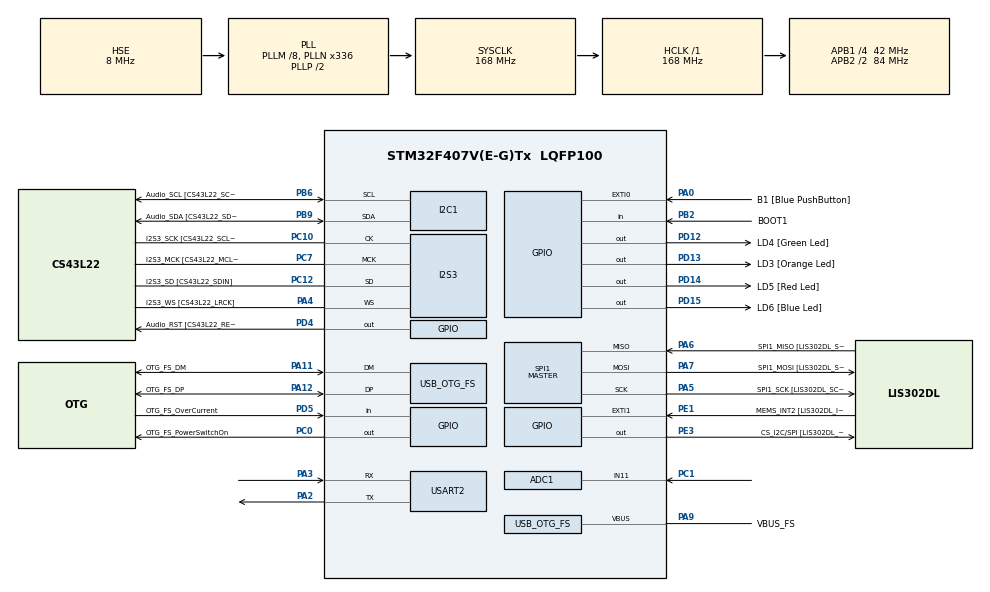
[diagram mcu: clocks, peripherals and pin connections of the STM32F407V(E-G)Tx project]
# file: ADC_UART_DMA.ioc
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ADC1.Channel-0\#ChannelRegularConversion=ADC_CHANNEL_11
ADC1.DMAContinuousRequests=ENABLE
ADC1.ExternalTrigConv=ADC_EXTERNALTRIGCONV_T2_TRGO
ADC1.NbrOfConversionFlag=1
ADC1.Rank-0\#ChannelRegularConversion=1
ADC1.SamplingTime-0\#ChannelRegularConversion=ADC_SAMPLETIME_3CYCLES
ADC1.master=1
Dma.ADC1.0.Direction=DMA_PERIPH_TO_MEMORY
Dma.ADC1.0.FIFOMode=DMA_FIFOMODE_DISABLE
Dma.ADC1.0.Instance=DMA2_Stream0
Dma.ADC1.0.MemDataAlignment=DMA_MDATAALIGN_HALFWORD
Dma.ADC1.0.MemInc=DMA_MINC_ENABLE
Dma.ADC1.0.Mode=DMA_CIRCULAR
Dma.ADC1.0.PeriphDataAlignment=DMA_PDATAALIGN_HALFWORD
Dma.ADC1.0.PeriphInc=DMA_PINC_DISABLE
Dma.ADC1.0.Priority=DMA_PRIORITY_LOW
Dma.Request0=ADC1
I2S3.AudioFreq-Half_Duplex_Master=I2S_AUDIOFREQ_96K
I2S3.ErrorAudioFreq=-2.34 %
I2S3.ErrorAudioFreq-Half_Duplex_Master=0.8 %
I2S3.FullDuplexMode=I2S_FULLDUPLEXMODE_DISABLE
I2S3.Instance=SPI$Index
I2S3.RealAudioFreq=93.75 KHz
I2S3.RealAudioFreq-Half_Duplex_Master=96.774 KHz
I2S3.VirtualMode=I2S_MODE_MASTER
Mcu.Family=STM32F4
Mcu.Name=STM32F407V(E-G)Tx
Mcu.Package=LQFP100
NVIC.DMA2_Stream0_IRQn=true\:0\:0\:false\:false\:true\:false\:true\:true
NVIC.OTG_FS_IRQn=true\:0\:0\:false\:false\:true\:true\:true\:true
NVIC.PriorityGroup=NVIC_PRIORITYGROUP_0
PA0-WKUP.GPIO_Label=B1 [Blue PushButton]
PA0-WKUP.GPIO_ModeDefaultEXTI=GPIO_MODE_EVT_RISING
PA0-WKUP.GPIO_PuPd=GPIO_NOPULL
PA0-WKUP.Signal=GPXTI0
PA10.GPIO_Label=OTG_FS_ID
PA10.GPIO_Mode=GPIO_MODE_AF_PP
PA10.GPIO_PuPd=GPIO_NOPULL
PA10.GPIO_Speed=GPIO_SPEED_FREQ_LOW
PA10.Signal=USB_OTG_FS_ID
PA11.GPIO_Label=OTG_FS_DM
PA11.GPIO_Mode=GPIO_MODE_AF_PP
PA11.GPIO_PuPd=GPIO_NOPULL
PA11.GPIO_Speed=GPIO_SPEED_FREQ_LOW
PA11.Mode=Host_Only
PA11.Signal=USB_OTG_FS_DM
PA12.GPIO_Label=OTG_FS_DP
PA12.GPIO_Mode=GPIO_MODE_AF_PP
PA12.GPIO_PuPd=GPIO_NOPULL
PA12.GPIO_Speed=GPIO_SPEED_FREQ_LOW
PA12.Mode=Host_Only
PA12.Signal=USB_OTG_FS_DP
PA13.GPIO_Label=SWDIO
PA13.Mode=Serial_Wire
PA13.Signal=SYS_JTMS-SWDIO
PA14.GPIO_Label=SWCLK
PA14.Mode=Serial_Wire
PA14.Signal=SYS_JTCK-SWCLK
PA2.Mode=Asynchronous
PA2.Signal=USART2_TX
PA3.Mode=Asynchronous
PA3.Signal=USART2_RX
PA4.GPIO_Label=I2S3_WS [CS43L22_LRCK]
PA4.GPIO_Mode=GPIO_MODE_AF_PP
PA4.GPIO_PuPd=GPIO_NOPULL
PA4.GPIO_Speed=GPIO_SPEED_FREQ_LOW
PA4.Mode=Half_Duplex_Master
PA4.Signal=I2S3_WS
PA5.GPIO_Label=SPI1_SCK [LIS302DL_SCL/SPC]
PA5.GPIO_Mode=GPIO_MODE_AF_PP
PA5.GPIO_PuPd=GPIO_NOPULL
PA5.GPIO_Speed=GPIO_SPEED_FREQ_LOW
PA5.Mode=Full_Duplex_Master
PA5.Signal=SPI1_SCK
PA6.GPIO_Label=SPI1_MISO [LIS302DL_SDO]
PA6.GPIO_Mode=GPIO_MODE_AF_PP
PA6.GPIO_PuPd=GPIO_NOPULL
PA6.GPIO_Speed=GPIO_SPEED_FREQ_LOW
PA6.Mode=Full_Duplex_Master
PA6.Signal=SPI1_MISO
PA7.GPIO_Label=SPI1_MOSI [LIS302DL_SDA/SDI/SDO]
PA7.GPIO_Mode=GPIO_MODE_AF_PP
PA7.GPIO_PuPd=GPIO_NOPULL
PA7.GPIO_Speed=GPIO_SPEED_FREQ_LOW
PA7.Mode=Full_Duplex_Master
PA7.Signal=SPI1_MOSI
PA9.GPIO_Label=VBUS_FS
PA9.GPIO_Mode=GPIO_MODE_INPUT
PA9.GPIO_PuPd=GPIO_NOPULL
PA9.Mode=Activate_VBUS
PA9.Signal=USB_OTG_FS_VBUS
PB10.GPIO_Label=CLK_IN [MP45DT02_CLK]
PB10.GPIO_Mode=GPIO_MODE_AF_PP
PB10.GPIO_PuPd=GPIO_NOPULL
PB10.GPIO_Speed=GPIO_SPEED_FREQ_LOW
PB10.Signal=I2S2_CK
PB2.GPIO_Label=BOOT1
PB2.GPIO_Mode=GPIO_MODE_INPUT
PB2.GPIO_PuPd=GPIO_NOPULL
PB2.Signal=GPIO_Input
PB3.GPIO_Label=SWO
PB3.Signal=SYS_JTDO-SWO
PB6.GPIO_Label=Audio_SCL [CS43L22_SCL]
PB6.GPIO_Mode=GPIO_MODE_AF_OD
PB6.GPIO_Pu=GPIO_PULLUP
PB6.GPIO_PuPd=GPIO_NOPULL
PB6.GPIO_Speed=GPIO_SPEED_FREQ_LOW
PB6.Mode=I2C
PB6.Signal=I2C1_SCL
PB9.GPIO_Label=Audio_SDA [CS43L22_SDA]
PB9.GPIO_Mode=GPIO_MODE_AF_OD
PB9.GPIO_Pu=GPIO_PULLUP
PB9.GPIO_PuPd=GPIO_NOPULL
PB9.GPIO_Speed=GPIO_SPEED_FREQ_LOW
PB9.Mode=I2C
PB9.Signal=I2C1_SDA
PC0.GPIO_Label=OTG_FS_PowerSwitchOn
PC0.GPIO_PuPd=GPIO_NOPULL
PC0.GPIO_Speed=GPIO_SPEED_FREQ_LOW
PC0.PinState=GPIO_PIN_SET
PC0.Signal=GPIO_Output
PC1.Signal=ADCx_IN11
PC10.GPIO_Label=I2S3_SCK [CS43L22_SCLK]
PC10.GPIO_Mode=GPIO_MODE_AF_PP
PC10.GPIO_PuPd=GPIO_NOPULL
PC10.GPIO_Speed=GPIO_SPEED_FREQ_LOW
PC10.Mode=Half_Duplex_Master
PC10.Signal=I2S3_CK
PC12.GPIO_Label=I2S3_SD [CS43L22_SDIN]
PC12.GPIO_Mode=GPIO_MODE_AF_PP
PC12.GPIO_PuPd=GPIO_NOPULL
PC12.GPIO_Speed=GPIO_SPEED_FREQ_LOW
PC12.Mode=Half_Duplex_Master
PC12.Signal=I2S3_SD
PC14-OSC32_IN.GPIO_Label=PC14-OSC32_IN
PC14-OSC32_IN.Mode=LSE-External-Oscillator
PC14-OSC32_IN.Signal=RCC_OSC32_IN
PC15-OSC32_OUT.GPIO_Label=PC15-OSC32_OUT
PC15-OSC32_OUT.Mode=LSE-External-Oscillator
PC15-OSC32_OUT.Signal=RCC_OSC32_OUT
PC3.GPIO_Label=PDM_OUT [MP45DT02_DOUT]
PC3.GPIO_Mode=GPIO_MODE_AF_PP
PC3.GPIO_PuPd=GPIO_NOPULL
PC3.GPIO_Speed=GPIO_SPEED_FREQ_LOW
PC3.Signal=I2S2_SD
PC7.GPIO_Label=I2S3_MCK [CS43L22_MCLK]
PC7.GPIO_Mode=GPIO_MODE_AF_PP
PC7.GPIO_PuPd=GPIO_NOPULL
PC7.GPIO_Speed=GPIO_SPEED_FREQ_LOW
PC7.Mode=Master_Clock_Activated
PC7.Signal=I2S3_MCK
PD12.GPIO_Label=LD4 [Green Led]
PD12.GPIO_PuPd=GPIO_NOPULL
PD12.GPIO_Speed=GPIO_SPEED_FREQ_LOW
PD12.Signal=GPIO_Output
PD13.GPIO_Label=LD3 [Orange Led]
PD13.GPIO_PuPd=GPIO_NOPULL
PD13.GPIO_Speed=GPIO_SPEED_FREQ_LOW
PD13.Signal=GPIO_Output
PD14.GPIO_Label=LD5 [Red Led]
PD14.GPIO_PuPd=GPIO_NOPULL
PD14.GPIO_Speed=GPIO_SPEED_FREQ_LOW
PD14.Signal=GPIO_Output
PD15.GPIO_Label=LD6 [Blue Led]
PD15.GPIO_PuPd=GPIO_NOPULL
PD15.GPIO_Speed=GPIO_SPEED_FREQ_LOW
PD15.Signal=GPIO_Output
PD4.GPIO_Label=Audio_RST [CS43L22_RESET]
PD4.GPIO_PuPd=GPIO_NOPULL
PD4.GPIO_Speed=GPIO_SPEED_FREQ_LOW
PD4.Signal=GPIO_Output
PD5.GPIO_Label=OTG_FS_OverCurrent
PD5.GPIO_Mode=GPIO_MODE_INPUT
PD5.GPIO_PuPd=GPIO_NOPULL
PD5.Signal=GPIO_Input
PE1.GPIO_Label=MEMS_INT2 [LIS302DL_INT2]
PE1.GPIO_ModeDefaultEXTI=GPIO_MODE_EVT_RISING
PE1.GPIO_PuPd=GPIO_NOPULL
PE1.Signal=GPXTI1
PE3.GPIO_Label=CS_I2C/SPI [LIS302DL_CS_I2C/SPI]
PE3.GPIO_PuPd=GPIO_NOPULL
PE3.GPIO_Speed=GPIO_SPEED_FREQ_LOW
PE3.Signal=GPIO_Output
PH0-OSC_IN.GPIO_Label=PH0-OSC_IN
PH0-OSC_IN.Mode=HSE-External-Oscillator
PH0-OSC_IN.Signal=RCC_OSC_IN
PH1-OSC_OUT.GPIO_Label=PH1-OSC_OUT
PH1-OSC_OUT.Mode=HSE-External-Oscillator
PH1-OSC_OUT.Signal=RCC_OSC_OUT
ProjectManager.HeapSize=0x200
ProjectManager.StackSize=0x400
ProjectManager.TargetToolchain=STM32CubeIDE
RCC.48MHZClocksFreq_Value=48000000
RCC.AHBFreq_Value=168000000
RCC.APB1CLKDivider=RCC_HCLK_DIV4
RCC.APB1Freq_Value=42000000
RCC.APB1TimFreq_Value=84000000
RCC.APB2CLKDivider=RCC_HCLK_DIV2
RCC.APB2Freq_Value=84000000
RCC.APB2TimFreq_Value=168000000
RCC.CortexFreq_Value=168000000
RCC.HCLKFreq_Value=168000000
RCC.HSE_VALUE=8000000
RCC.HSI_VALUE=16000000
RCC.PLLM=8
RCC.PLLN=336
RCC.PLLQ=7
RCC.SYSCLKFreq_VALUE=168000000
RCC.SYSCLKSource=RCC_SYSCLKSOURCE_PLLCLK
RCC.VCOOutputFreq_Value=336000000
SH.ADCx_IN11.0=ADC1_IN11,IN11
SPI1.BaudRatePrescaler-Full_Duplex_Master=SPI_BAUDRATEPRESCALER_2
SPI1.CalculateBaudRate-Full_Duplex_Master=42.0 MBits/s
SPI1.Direction=SPI_DIRECTION_2LINES
SPI1.Mode=SPI_MODE_MASTER
SPI1.Mode-Full_Duplex_Master=SPI_MODE_MASTER
SPI1.VirtualType=VM_MASTER
TIM2.Period=56000
TIM2.TIM_MasterOutputTrigger=TIM_TRGO_UPDATE
TIM2.TIM_MasterSlaveMode=TIM_MASTERSLAVEMODE_DISABLE
USART2.VirtualMode=VM_ASYNC
USB_HOST.BSP.number=1
USB_HOST.USBH_HandleTypeDef-CDC_FS=hUsbHostFS
USB_HOST.VirtualModeFS=Cdc
USB_HOST0.BSP.STBoard=false
USB_HOST0.BSP.api=Unknown
USB_HOST0.BSP.instance=PC0
USB_HOST0.BSP.ip=GPIO
USB_HOST0.BSP.mode=Output
USB_HOST0.BSP.name=Drive_VBUS_FS
USB_HOST0.BSP.solution=PC0
USB_OTG_FS.VirtualMode=Host_Only
USB_OTG_FS.phy_itface=HCD_PHY_EMBEDDED
VP_TIM2_VS_ClockSourceINT.Mode=Internal
VP_USB_HOST_VS_USB_HOST_CDC_FS.Mode=CDC_FS
board=STM32F407G-DISC1

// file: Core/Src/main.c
/* USER CODE BEGIN Header */
/**
  ******************************************************************************
  * @file           : main.c
  * @brief          : Main program body
  ******************************************************************************
  * @attention
  *
  * Copyright (c) 2024 STMicroelectronics.
  * All rights reserved.
  *
  * This software is licensed under terms that can be found in the LICENSE file
  * in the root directory of this software component.
  * If no LICENSE file comes with this software, it is provided AS-IS.
  *
  ******************************************************************************
  */
/* USER CODE END Header */
#include "main.h"
#include "usb_host.h"

/* USER CODE BEGIN Includes */
#include "stm32f4xx_hal.h"
#include <stdio.h>
#include <string.h>
/* USER CODE END Includes */

/* USER CODE BEGIN PD */
#define ADC_BUFFER_SIZE 128
/* USER CODE END PD */

ADC_HandleTypeDef hadc1;
DMA_HandleTypeDef hdma_adc1;

I2C_HandleTypeDef hi2c1;

I2S_HandleTypeDef hi2s3;

SPI_HandleTypeDef hspi1;

TIM_HandleTypeDef htim2;

UART_HandleTypeDef huart2;

/* USER CODE BEGIN PV */
uint32_t adc_buffer[ADC_BUFFER_SIZE];
/* USER CODE END PV */

void SystemClock_Config(void);
static void MX_GPIO_Init(void);
static void MX_DMA_Init(void);
static void MX_I2C1_Init(void);
static void MX_I2S3_Init(void);
static void MX_SPI1_Init(void);
static void MX_ADC1_Init(void);
static void MX_TIM2_Init(void);
static void MX_USART2_UART_Init(void);
void MX_USB_HOST_Process(void);

int main(void)
{

  /* MCU Configuration--------------------------------------------------------*/

  /* Reset of all peripherals, Initializes the Flash interface and the Systick. */
  HAL_Init();

  /* Configure the system clock */
  SystemClock_Config();

  /* Initialize all configured peripherals */
  MX_GPIO_Init();
  MX_DMA_Init();
  MX_I2C1_Init();
  MX_I2S3_Init();
  MX_SPI1_Init();
  MX_USB_HOST_Init();
  MX_ADC1_Init();
  MX_TIM2_Init();
  MX_USART2_UART_Init();
  /* USER CODE BEGIN 2 */
  // Start ADC in DMA mode
  HAL_ADC_Start_DMA(&hadc1, (uint32_t*)adc_buffer, ADC_BUFFER_SIZE);
  // Start Timer
  HAL_TIM_Base_Start(&htim2);
  /* USER CODE END 2 */

  /* Infinite loop */
  while (1)
  {
    MX_USB_HOST_Process();

    /* USER CODE BEGIN 3 */
    // Transmit ADC data over USART in a circular buffer fashion
//	HAL_UART_Transmit(&huart2, (uint8_t*)adc_buffer, ADC_BUFFER_SIZE * 2, HAL_MAX_DELAY);
//	HAL_Delay(10); // Adjust delay as necessary for plotter speed
  }
  /* USER CODE END 3 */
}

void SystemClock_Config(void)
{
  RCC_OscInitTypeDef RCC_OscInitStruct = {0};
  RCC_ClkInitTypeDef RCC_ClkInitStruct = {0};

  /** Configure the main internal regulator output voltage
  */
  __HAL_RCC_PWR_CLK_ENABLE();
  __HAL_PWR_VOLTAGESCALING_CONFIG(PWR_REGULATOR_VOLTAGE_SCALE1);

  /** Initializes the RCC Oscillators according to the specified parameters
  * in the RCC_OscInitTypeDef structure.
  */
  RCC_OscInitStruct.OscillatorType = RCC_OSCILLATORTYPE_HSE;
  RCC_OscInitStruct.HSEState = RCC_HSE_ON;
  RCC_OscInitStruct.PLL.PLLState = RCC_PLL_ON;
  RCC_OscInitStruct.PLL.PLLSource = RCC_PLLSOURCE_HSE;
  RCC_OscInitStruct.PLL.PLLM = 8;
  RCC_OscInitStruct.PLL.PLLN = 336;
  RCC_OscInitStruct.PLL.PLLP = RCC_PLLP_DIV2;
  RCC_OscInitStruct.PLL.PLLQ = 7;
  if (HAL_RCC_OscConfig(&RCC_OscInitStruct) != HAL_OK)
  {
    Error_Handler();
  }

  /** Initializes the CPU, AHB and APB buses clocks
  */
  RCC_ClkInitStruct.ClockType = RCC_CLOCKTYPE_HCLK|RCC_CLOCKTYPE_SYSCLK
                              |RCC_CLOCKTYPE_PCLK1|RCC_CLOCKTYPE_PCLK2;
  RCC_ClkInitStruct.SYSCLKSource = RCC_SYSCLKSOURCE_PLLCLK;
  RCC_ClkInitStruct.AHBCLKDivider = RCC_SYSCLK_DIV1;
  RCC_ClkInitStruct.APB1CLKDivider = RCC_HCLK_DIV4;
  RCC_ClkInitStruct.APB2CLKDivider = RCC_HCLK_DIV2;

  if (HAL_RCC_ClockConfig(&RCC_ClkInitStruct, FLASH_LATENCY_5) != HAL_OK)
  {
    Error_Handler();
  }
}

static void MX_ADC1_Init(void)
{

  ADC_ChannelConfTypeDef sConfig = {0};

  /** Configure the global features of the ADC (Clock, Resolution, Data Alignment and number of conversion)
  */
  hadc1.Instance = ADC1;
  hadc1.Init.ClockPrescaler = ADC_CLOCK_SYNC_PCLK_DIV4;
  hadc1.Init.Resolution = ADC_RESOLUTION_12B;
  hadc1.Init.ScanConvMode = DISABLE;
  hadc1.Init.ContinuousConvMode = DISABLE;
  hadc1.Init.DiscontinuousConvMode = DISABLE;
  hadc1.Init.ExternalTrigConvEdge = ADC_EXTERNALTRIGCONVEDGE_RISING;
  hadc1.Init.ExternalTrigConv = ADC_EXTERNALTRIGCONV_T2_TRGO;
  hadc1.Init.DataAlign = ADC_DATAALIGN_RIGHT;
  hadc1.Init.NbrOfConversion = 1;
  hadc1.Init.DMAContinuousRequests = ENABLE;
  hadc1.Init.EOCSelection = ADC_EOC_SINGLE_CONV;
  if (HAL_ADC_Init(&hadc1) != HAL_OK)
  {
    Error_Handler();
  }

  /** Configure for the selected ADC regular channel its corresponding rank in the sequencer and its sample time.
  */
  sConfig.Channel = ADC_CHANNEL_11;
  sConfig.Rank = 1;
  sConfig.SamplingTime = ADC_SAMPLETIME_3CYCLES;
  if (HAL_ADC_ConfigChannel(&hadc1, &sConfig) != HAL_OK)
  {
    Error_Handler();
  }

}

static void MX_I2C1_Init(void)
{

  hi2c1.Instance = I2C1;
  hi2c1.Init.ClockSpeed = 100000;
  hi2c1.Init.DutyCycle = I2C_DUTYCYCLE_2;
  hi2c1.Init.OwnAddress1 = 0;
  hi2c1.Init.AddressingMode = I2C_ADDRESSINGMODE_7BIT;
  hi2c1.Init.DualAddressMode = I2C_DUALADDRESS_DISABLE;
  hi2c1.Init.OwnAddress2 = 0;
  hi2c1.Init.GeneralCallMode = I2C_GENERALCALL_DISABLE;
  hi2c1.Init.NoStretchMode = I2C_NOSTRETCH_DISABLE;
  if (HAL_I2C_Init(&hi2c1) != HAL_OK)
  {
    Error_Handler();
  }

}

static void MX_I2S3_Init(void)
{

  hi2s3.Instance = SPI3;
  hi2s3.Init.Mode = I2S_MODE_MASTER_TX;
  hi2s3.Init.Standard = I2S_STANDARD_PHILIPS;
  hi2s3.Init.DataFormat = I2S_DATAFORMAT_16B;
  hi2s3.Init.MCLKOutput = I2S_MCLKOUTPUT_ENABLE;
  hi2s3.Init.AudioFreq = I2S_AUDIOFREQ_96K;
  hi2s3.Init.CPOL = I2S_CPOL_LOW;
  hi2s3.Init.ClockSource = I2S_CLOCK_PLL;
  hi2s3.Init.FullDuplexMode = I2S_FULLDUPLEXMODE_DISABLE;
  if (HAL_I2S_Init(&hi2s3) != HAL_OK)
  {
    Error_Handler();
  }

}

static void MX_SPI1_Init(void)
{

  /* SPI1 parameter configuration*/
  hspi1.Instance = SPI1;
  hspi1.Init.Mode = SPI_MODE_MASTER;
  hspi1.Init.Direction = SPI_DIRECTION_2LINES;
  hspi1.Init.DataSize = SPI_DATASIZE_8BIT;
  hspi1.Init.CLKPolarity = SPI_POLARITY_LOW;
  hspi1.Init.CLKPhase = SPI_PHASE_1EDGE;
  hspi1.Init.NSS = SPI_NSS_SOFT;
  hspi1.Init.BaudRatePrescaler = SPI_BAUDRATEPRESCALER_2;
  hspi1.Init.FirstBit = SPI_FIRSTBIT_MSB;
  hspi1.Init.TIMode = SPI_TIMODE_DISABLE;
  hspi1.Init.CRCCalculation = SPI_CRCCALCULATION_DISABLE;
  hspi1.Init.CRCPolynomial = 10;
  if (HAL_SPI_Init(&hspi1) != HAL_OK)
  {
    Error_Handler();
  }

}

static void MX_TIM2_Init(void)
{

  TIM_ClockConfigTypeDef sClockSourceConfig = {0};
  TIM_MasterConfigTypeDef sMasterConfig = {0};

  htim2.Instance = TIM2;
  htim2.Init.Prescaler = 0;
  htim2.Init.CounterMode = TIM_COUNTERMODE_UP;
  htim2.Init.Period = 56000;
  htim2.Init.ClockDivision = TIM_CLOCKDIVISION_DIV1;
  htim2.Init.AutoReloadPreload = TIM_AUTORELOAD_PRELOAD_DISABLE;
  if (HAL_TIM_Base_Init(&htim2) != HAL_OK)
  {
    Error_Handler();
  }
  sClockSourceConfig.ClockSource = TIM_CLOCKSOURCE_INTERNAL;
  if (HAL_TIM_ConfigClockSource(&htim2, &sClockSourceConfig) != HAL_OK)
  {
    Error_Handler();
  }
  sMasterConfig.MasterOutputTrigger = TIM_TRGO_UPDATE;
  sMasterConfig.MasterSlaveMode = TIM_MASTERSLAVEMODE_DISABLE;
  if (HAL_TIMEx_MasterConfigSynchronization(&htim2, &sMasterConfig) != HAL_OK)
  {
    Error_Handler();
  }

}

static void MX_USART2_UART_Init(void)
{

  huart2.Instance = USART2;
//  huart2.Init.BaudRate = 115200;
  huart2.Init.BaudRate = 921600;
  huart2.Init.WordLength = UART_WORDLENGTH_8B;
  huart2.Init.StopBits = UART_STOPBITS_1;
  huart2.Init.Parity = UART_PARITY_NONE;
  huart2.Init.Mode = UART_MODE_TX_RX;
  huart2.Init.HwFlowCtl = UART_HWCONTROL_NONE;
  huart2.Init.OverSampling = UART_OVERSAMPLING_16;
  if (HAL_UART_Init(&huart2) != HAL_OK)
  {
    Error_Handler();
  }

}

static void MX_DMA_Init(void)
{

  /* DMA controller clock enable */
  __HAL_RCC_DMA2_CLK_ENABLE();

  /* DMA interrupt init */
  /* DMA2_Stream0_IRQn interrupt configuration */
  HAL_NVIC_SetPriority(DMA2_Stream0_IRQn, 0, 0);
  HAL_NVIC_EnableIRQ(DMA2_Stream0_IRQn);

}

static void MX_GPIO_Init(void)
{
  GPIO_InitTypeDef GPIO_InitStruct = {0};

  /* GPIO Ports Clock Enable */
  __HAL_RCC_GPIOE_CLK_ENABLE();
  __HAL_RCC_GPIOC_CLK_ENABLE();
  __HAL_RCC_GPIOH_CLK_ENABLE();
  __HAL_RCC_GPIOA_CLK_ENABLE();
  __HAL_RCC_GPIOB_CLK_ENABLE();
  __HAL_RCC_GPIOD_CLK_ENABLE();

  /*Configure GPIO pin Output Level */
  HAL_GPIO_WritePin(CS_I2C_SPI_GPIO_Port, CS_I2C_SPI_Pin, GPIO_PIN_RESET);

  /*Configure GPIO pin Output Level */
  HAL_GPIO_WritePin(OTG_FS_PowerSwitchOn_GPIO_Port, OTG_FS_PowerSwitchOn_Pin, GPIO_PIN_SET);

  /*Configure GPIO pin Output Level */
  HAL_GPIO_WritePin(GPIOD, LD4_Pin|LD3_Pin|LD5_Pin|LD6_Pin
                          |Audio_RST_Pin, GPIO_PIN_RESET);

  /*Configure GPIO pin : CS_I2C_SPI_Pin */
  GPIO_InitStruct.Pin = CS_I2C_SPI_Pin;
  GPIO_InitStruct.Mode = GPIO_MODE_OUTPUT_PP;
  GPIO_InitStruct.Pull = GPIO_NOPULL;
  GPIO_InitStruct.Speed = GPIO_SPEED_FREQ_LOW;
  HAL_GPIO_Init(CS_I2C_SPI_GPIO_Port, &GPIO_InitStruct);

  /*Configure GPIO pin : OTG_FS_PowerSwitchOn_Pin */
  GPIO_InitStruct.Pin = OTG_FS_PowerSwitchOn_Pin;
  GPIO_InitStruct.Mode = GPIO_MODE_OUTPUT_PP;
  GPIO_InitStruct.Pull = GPIO_NOPULL;
  GPIO_InitStruct.Speed = GPIO_SPEED_FREQ_LOW;
  HAL_GPIO_Init(OTG_FS_PowerSwitchOn_GPIO_Port, &GPIO_InitStruct);

  /*Configure GPIO pin : PDM_OUT_Pin */
  GPIO_InitStruct.Pin = PDM_OUT_Pin;
  GPIO_InitStruct.Mode = GPIO_MODE_AF_PP;
  GPIO_InitStruct.Pull = GPIO_NOPULL;
  GPIO_InitStruct.Speed = GPIO_SPEED_FREQ_LOW;
  GPIO_InitStruct.Alternate = GPIO_AF5_SPI2;
  HAL_GPIO_Init(PDM_OUT_GPIO_Port, &GPIO_InitStruct);

  /*Configure GPIO pin : B1_Pin */
  GPIO_InitStruct.Pin = B1_Pin;
  GPIO_InitStruct.Mode = GPIO_MODE_EVT_RISING;
  GPIO_InitStruct.Pull = GPIO_NOPULL;
  HAL_GPIO_Init(B1_GPIO_Port, &GPIO_InitStruct);

  /*Configure GPIO pin : BOOT1_Pin */
  GPIO_InitStruct.Pin = BOOT1_Pin;
  GPIO_InitStruct.Mode = GPIO_MODE_INPUT;
  GPIO_InitStruct.Pull = GPIO_NOPULL;
  HAL_GPIO_Init(BOOT1_GPIO_Port, &GPIO_InitStruct);

  /*Configure GPIO pin : CLK_IN_Pin */
  GPIO_InitStruct.Pin = CLK_IN_Pin;
  GPIO_InitStruct.Mode = GPIO_MODE_AF_PP;
  GPIO_InitStruct.Pull = GPIO_NOPULL;
  GPIO_InitStruct.Speed = GPIO_SPEED_FREQ_LOW;
  GPIO_InitStruct.Alternate = GPIO_AF5_SPI2;
  HAL_GPIO_Init(CLK_IN_GPIO_Port, &GPIO_InitStruct);

  /*Configure GPIO pins : LD4_Pin LD3_Pin LD5_Pin LD6_Pin
                           Audio_RST_Pin */
  GPIO_InitStruct.Pin = LD4_Pin|LD3_Pin|LD5_Pin|LD6_Pin
                          |Audio_RST_Pin;
  GPIO_InitStruct.Mode = GPIO_MODE_OUTPUT_PP;
  GPIO_InitStruct.Pull = GPIO_NOPULL;
  GPIO_InitStruct.Speed = GPIO_SPEED_FREQ_LOW;
  HAL_GPIO_Init(GPIOD, &GPIO_InitStruct);

  /*Configure GPIO pin : OTG_FS_OverCurrent_Pin */
  GPIO_InitStruct.Pin = OTG_FS_OverCurrent_Pin;
  GPIO_InitStruct.Mode = GPIO_MODE_INPUT;
  GPIO_InitStruct.Pull = GPIO_NOPULL;
  HAL_GPIO_Init(OTG_FS_OverCurrent_GPIO_Port, &GPIO_InitStruct);

  /*Configure GPIO pin : MEMS_INT2_Pin */
  GPIO_InitStruct.Pin = MEMS_INT2_Pin;
  GPIO_InitStruct.Mode = GPIO_MODE_EVT_RISING;
  GPIO_InitStruct.Pull = GPIO_NOPULL;
  HAL_GPIO_Init(MEMS_INT2_GPIO_Port, &GPIO_InitStruct);

}

/* USER CODE BEGIN 4 */
void send_adc_values_in_chunks(void) {
    char adc_string[10];  // Buffer for each ADC value as a string

    // Loop through the ADC buffer in chunks of 16
    for (int i = 0; i < ADC_BUFFER_SIZE; i++) {
        // Format the ADC value
        sprintf(adc_string, "%u\r\n", adc_buffer[i]);

        // Transmit the ADC value via UART
        HAL_UART_Transmit(&huart2, (uint8_t*)adc_string, strlen(adc_string), HAL_MAX_DELAY);

        // Every 16th value, delay to avoid overloading the UART
//        if ((i + 1) % 16 == 0) {
//            HAL_Delay(10);  // Small delay to allow UART to catch up
//        }
    }
}

void HAL_ADC_ConvCpltCallback(ADC_HandleTypeDef* hadc) {
    if (hadc->Instance == ADC1) {
        // Send all ADC values from the buffer once the conversion is complete
    	send_adc_values_in_chunks();
    }
}
/* USER CODE END 4 */

void Error_Handler(void)
{
  __disable_irq();
  while (1)
  {
  }
}
